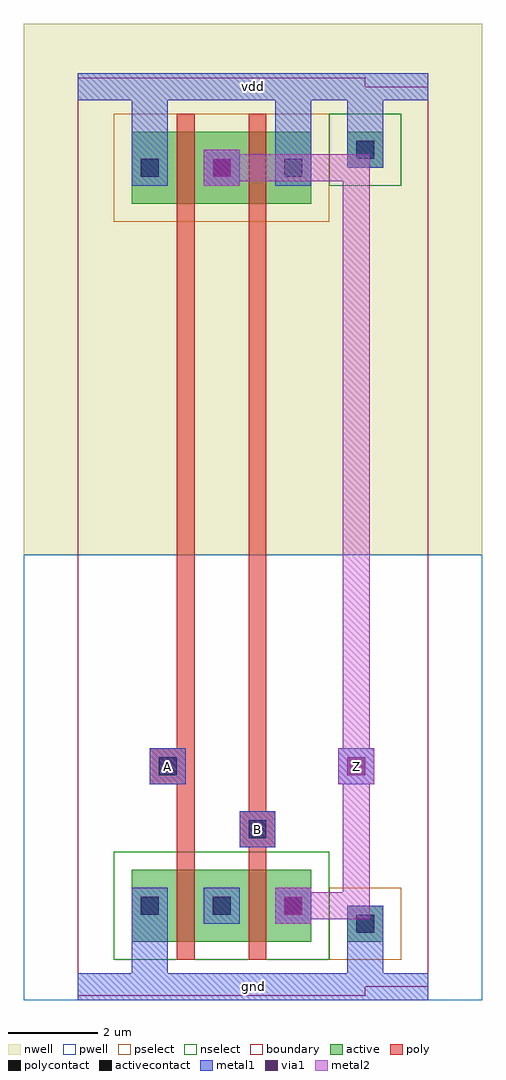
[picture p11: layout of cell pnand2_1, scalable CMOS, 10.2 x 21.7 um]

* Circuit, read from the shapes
.subckt pnand2_1 A B Z gnd vdd
M1 nmos_m1_w1_600_a_p_2/D A gnd gnd nfet w=1.6u l=0.4u
M2 Z B nmos_m1_w1_600_a_p_2/D gnd nfet w=1.6u l=0.4u
M3 Z A vdd vdd pfet w=1.6u l=0.4u
M4 vdd B Z vdd pfet w=1.6u l=0.4u
.ends

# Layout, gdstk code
import gdstk
lib = gdstk.Library(unit=1e-6, precision=1e-09)
def R(c, l, rs):  # rectangles x0, y0, x1, y1
    for r in rs: c.add(gdstk.rectangle(r[:2], r[2:], *l))
pwell = (41, 0)
nwell = (42, 0)
active = (43, 0)
pselect = (44, 0)
nselect = (45, 0)
poly = (46, 0)
polycontact = (47, 0)
activecontact = (48, 0)
metal1 = (49, 0)
via1 = (50, 0)
metal2 = (51, 0)
boundary = (63, 0)

contact_11 = lib.new_cell('contact_11')
R(contact_11, nwell, [(-1.2,-1.2,2,2)])
R(contact_11, active, [(0,0,0.8,0.8)])
R(contact_11, pselect, [(-0.4,-0.4,1.2,1.2)])
R(contact_11, activecontact, [(0.2,0.2,0.6,0.6)])
R(contact_11, metal1, [(0,0,0.8,0.8)])

pmos_m1_w1_600_a_p = lib.new_cell('pmos_m1_w1_600_a_p')
R(pmos_m1_w1_600_a_p, nwell, [(-1.2,-1.2,3.6,2.8)])
R(pmos_m1_w1_600_a_p, active, [(0,0,2.4,1.6)])
R(pmos_m1_w1_600_a_p, pselect, [(-0.4,-0.4,2.8,2)])
R(pmos_m1_w1_600_a_p, poly, [(1,-0.4,1.4,2), (1,-0.4,1.4,2)])
R(pmos_m1_w1_600_a_p, metal1, [(0,0.4,0.8,1.2), (1.6,0.4,2.4,1.2)])
R(pmos_m1_w1_600_a_p, boundary, [(-1.2,-1.2,3.6,2.8)])
pmos_m1_w1_600_a_p.add(gdstk.Reference(contact_11, (0,0.4)))
pmos_m1_w1_600_a_p.add(gdstk.Reference(contact_11, (1.6,0.4)))
pmos_m1_w1_600_a_p.add(gdstk.Label('G', (1.2,0.8), layer=46, texttype=0))
pmos_m1_w1_600_a_p.add(gdstk.Label('S', (0.4,0.8), layer=49, texttype=0))
pmos_m1_w1_600_a_p.add(gdstk.Label('D', (2,0.8), layer=49, texttype=0))

contact_16 = lib.new_cell('contact_16')
R(contact_16, pwell, [(-1.2,-1.2,2,2)])
R(contact_16, active, [(0,0,0.8,0.8)])
R(contact_16, nselect, [(-0.4,-0.4,1.2,1.2)])
R(contact_16, activecontact, [(0.2,0.2,0.6,0.6)])
R(contact_16, metal1, [(0,0,0.8,0.8)])

nmos_m1_w1_600_a_p = lib.new_cell('nmos_m1_w1_600_a_p')
R(nmos_m1_w1_600_a_p, pwell, [(-1.2,-1.2,3.6,2.8)])
R(nmos_m1_w1_600_a_p, active, [(0,0,2.4,1.6)])
R(nmos_m1_w1_600_a_p, nselect, [(-0.4,-0.4,2.8,2)])
R(nmos_m1_w1_600_a_p, poly, [(1,-0.4,1.4,2), (1,-0.4,1.4,2)])
R(nmos_m1_w1_600_a_p, metal1, [(0,0.4,0.8,1.2), (1.6,0.4,2.4,1.2)])
R(nmos_m1_w1_600_a_p, boundary, [(-1.2,-1.2,3.6,2.8)])
nmos_m1_w1_600_a_p.add(gdstk.Reference(contact_16, (0,0.4)))
nmos_m1_w1_600_a_p.add(gdstk.Reference(contact_16, (1.6,0.4)))
nmos_m1_w1_600_a_p.add(gdstk.Label('G', (1.2,0.8), layer=46, texttype=0))
nmos_m1_w1_600_a_p.add(gdstk.Label('S', (0.4,0.8), layer=49, texttype=0))
nmos_m1_w1_600_a_p.add(gdstk.Label('D', (2,0.8), layer=49, texttype=0))

contact_13 = lib.new_cell('contact_13')
R(contact_13, nwell, [(-1.2,-1.2,2,2)])
R(contact_13, active, [(0,0,0.8,0.8)])
R(contact_13, nselect, [(-0.4,-0.4,1.2,1.2)])
R(contact_13, activecontact, [(0.2,0.2,0.6,0.6)])
R(contact_13, metal1, [(0,0,0.8,0.8)])

contact_17 = lib.new_cell('contact_17')
R(contact_17, pwell, [(-1.2,-1.2,2,2)])
R(contact_17, active, [(0,0,0.8,0.8)])
R(contact_17, pselect, [(-0.4,-0.4,1.2,1.2)])
R(contact_17, activecontact, [(0.2,0.2,0.6,0.6)])
R(contact_17, metal1, [(0,0,0.8,0.8)])

contact_12 = lib.new_cell('contact_12')
R(contact_12, poly, [(0,0,0.8,0.8)])
R(contact_12, polycontact, [(0.2,0.2,0.6,0.6)])
R(contact_12, metal1, [(0,0,0.8,0.8)])

contact_18 = lib.new_cell('contact_18')
R(contact_18, metal1, [(0,0,0.8,0.8)])
R(contact_18, via1, [(0.2,0.2,0.6,0.6)])
R(contact_18, metal2, [(0,0,0.8,0.8)])

contact_19 = lib.new_cell('contact_19')
R(contact_19, metal1, [(0,0,0.8,0.8)])
R(contact_19, via1, [(0.2,0.2,0.6,0.6)])
R(contact_19, metal2, [(0,0,0.8,0.8)])

pnand2_1 = lib.new_cell('pnand2_1')
R(pnand2_1, pwell, [(-1.2,-0.3,9,9.6)])
R(pnand2_1, nwell, [(-1.2,9.6,9,21.4)])
R(pnand2_1, poly, [(2.2,3,2.6,17), (3.8,3,4.2,17), (3.8,3.1,4,3.9), (2,4.5,2.2,5.3)])
R(pnand2_1, metal1, [(0,-0.3,7.8,0.3), (1.2,-0.3,2,1.4), (6,0,6.8,1.4), (3.6,3.1,4.4,3.9), (1.6,4.5,2.4,5.3), (5.8,4.5,6.6,5.3), (1.2,17.8,2,20.3), (4.4,17.8,5.2,20.3), (6,18.6,6.8,20), (0,19.7,7.8,20.3)])
R(pnand2_1, metal2, [(4.8,1.5,6.2,2.1), (5.9,1.5,6.5,2.1), (5.9,1.8,6.5,4.9), (5.9,4.9,6.5,18.2), (3.2,17.9,6.2,18.5), (5.9,17.9,6.5,18.5)])
R(pnand2_1, boundary, [(0,0,7.8,20)])
pnand2_1.add(gdstk.Reference(pmos_m1_w1_600_a_p, (1.2,17.4)))
pnand2_1.add(gdstk.Reference(pmos_m1_w1_600_a_p, (2.8,17.4)))
pnand2_1.add(gdstk.Reference(nmos_m1_w1_600_a_p, (1.2,1)))
pnand2_1.add(gdstk.Reference(nmos_m1_w1_600_a_p, (2.8,1)))
pnand2_1.add(gdstk.Reference(contact_13, (6,18.2)))
pnand2_1.add(gdstk.Reference(contact_17, (6,1)))
pnand2_1.add(gdstk.Reference(contact_12, (3.6,3.1)))
pnand2_1.add(gdstk.Reference(contact_12, (1.6,4.5)))
pnand2_1.add(gdstk.Reference(contact_18, (2.8,17.8)))
pnand2_1.add(gdstk.Reference(contact_18, (4.4,1.4)))
pnand2_1.add(gdstk.Reference(contact_19, (5.8,4.5)))
pnand2_1.add(gdstk.Label('gnd', (3.9,0), layer=49, texttype=0))
pnand2_1.add(gdstk.Label('vdd', (3.9,20), layer=49, texttype=0))
pnand2_1.add(gdstk.Label('B', (4,3.5), layer=49, texttype=0))
pnand2_1.add(gdstk.Label('A', (2,4.9), layer=49, texttype=0))
pnand2_1.add(gdstk.Label('Z', (6.2,4.9), layer=49, texttype=0))

lib.write_gds('pnand2_1.gds')
